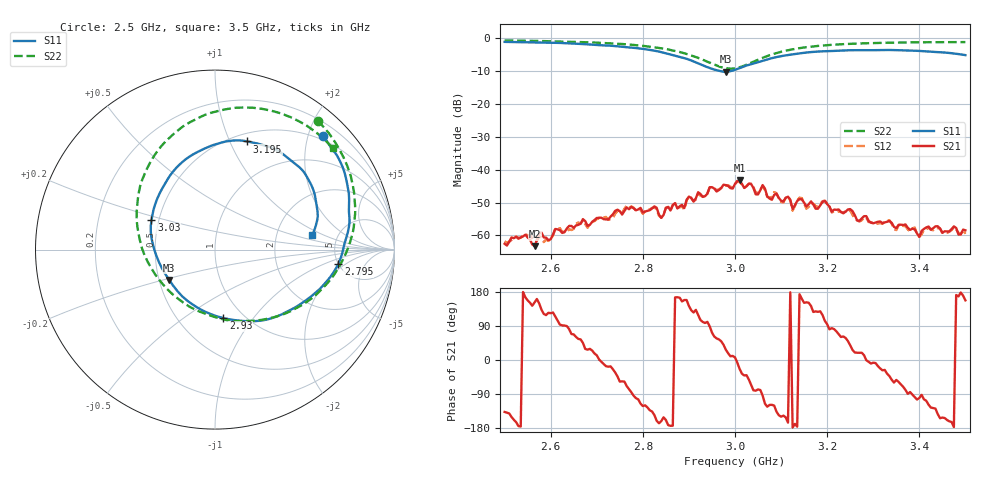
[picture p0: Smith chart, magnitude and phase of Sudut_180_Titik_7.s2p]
# Hz S RI R 50
! CMT, C1220, 16058040, 17.2.0/1
! Date: 15/08/2018 10:09:11
! Data: Format (Calibration Info)
! Freq  S11: Re/Im (F2)  S21: Re/Im (F2)  S12: Re/Im (F2)  S22: Re/Im (F2)
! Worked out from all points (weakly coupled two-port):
!   201 points, 2.5 GHz to 3.5 GHz, reference 50 ohm
!   highest |S21| = -43.30 dB at 3.01 GHz (marker M1); lowest = -63.3 dB at 2.565 GHz (marker M2)
!   lowest |S11| = -10.3 dB at 2.98 GHz (marker M3), VSWR 1.88, Z = 28.2 - j10.5 ohm
!   |S11| at or under -10 dB: 2.966 GHz to 2.992 GHz (25.53 MHz wide, 0.857 % of centre)
!   |S22| runs from -9.3 to -0.7 dB; largest |S21 - S12| = 0.00052
!   S11 on the Smith chart (normalised r, x): 2.5 GHz: 0.42, +2.26; 2.795 GHz: 4.99, -1.53; 2.93 GHz: 0.81, -0.72; 3.03 GHz: 0.46, +0.18; 3.195 GHz: 0.58, +1.16; 3.5 GHz: 3.24, +0.77
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2.5e9  0.5998 0.6343  -0.000548 -0.000508  -0.000604 -0.000545  0.573 0.7164
2.545e9  0.6463 0.5691  -0.000994 0.000259  -0.00103 0.000168  0.6244 0.6607
2.565e9  0.6684 0.5407  -0.000606 0.000324  -0.000654 0.000496  0.6456 0.6334
2.575e9  0.6805 0.5229  -0.000925 0.000545  -0.000703 0.00064  0.6563 0.6177
2.595e9  0.6985 0.4882  -0.000482 0.000701  -0.000474 0.000677  0.6758 0.5872
2.67e9  0.7456 0.3144  0.00125 0.00125  0.00129 0.0011  0.7454 0.4433
2.795e9  0.6865 -0.0803  -0.00112 -0.00238  -0.00101 -0.00222  0.7625 0.0765
2.835e9  0.5808 -0.222  -0.00201 -0.000464  -0.00193 -0.000491  0.7017 -0.0774
2.93e9  0.0464 -0.3815  -0.0007 0.00381  -0.000897 0.00375  0.2556 -0.3921
2.98e9  -0.2556 -0.1686  0.00518 0.00268  0.005 0.00274  -0.1376 -0.3208
3e9  -0.3269 -0.0337  0.00603 0.000707  0.00603 0.000462  -0.2745 -0.2117
3.01e9  -0.3472 0.0335  0.00627 -0.00272  0.00599 -0.0025  -0.33 -0.1433
3.03e9  -0.3539 0.1642  0.0038 -0.00478  0.00379 -0.00479  -0.4073 0.00899
3.115e9  -0.1023 0.5412  -0.00375 -0.000988  -0.00384 -0.000846  -0.295 0.5811
3.125e9  -0.063 0.5607  -0.00252 -7.98e-05  -0.00239 -6.9e-05  -0.2548 0.622
3.14e9  -0.00491 0.5842  -0.00353 0.000405  -0.00371 0.000533  -0.1957 0.673
3.17e9  0.0982 0.6073  -0.00176 0.00237  -0.00197 0.0023  -0.0759 0.7416
3.195e9  0.1778 0.6028  -0.000762 0.00325  -0.000613 0.00332  0.0176 0.7723
3.27e9  0.3726 0.5366  0.00158 0.000544  0.00153 0.000552  0.2559 0.7851
3.335e9  0.4909 0.4375  0.00123 -0.00112  0.00121 -0.0012  0.4087 0.7429
3.4e9  0.5539 0.3133  -0.000171 -0.000939  -0.000229 -0.000922  0.5259 0.6797
3.5e9  0.5432 0.0831  -0.00111 0.000461  -0.000931 0.000512  0.6574 0.5639
